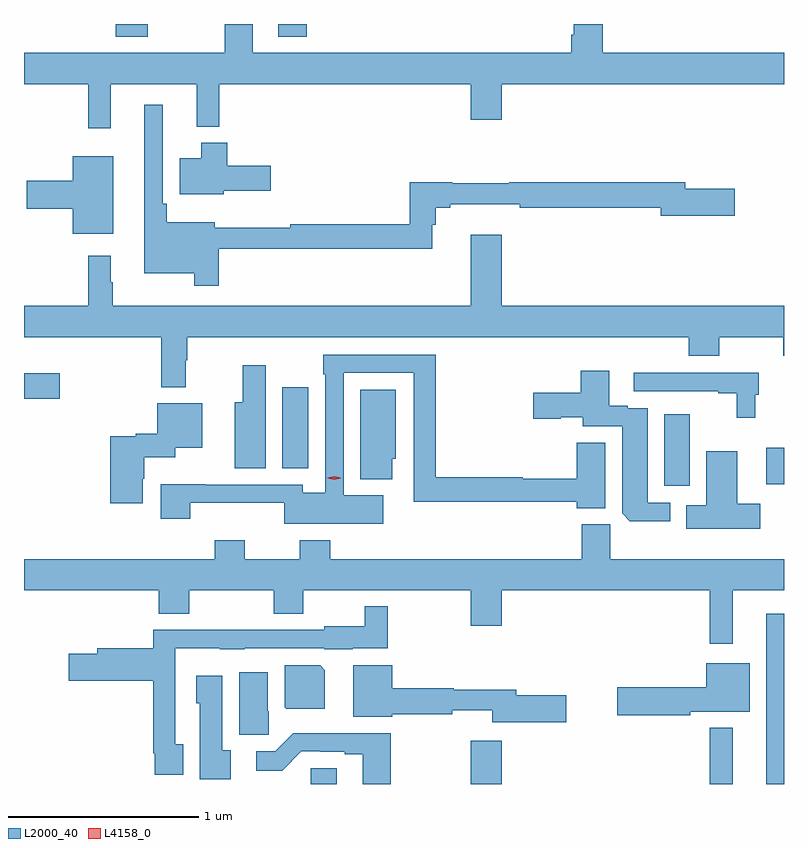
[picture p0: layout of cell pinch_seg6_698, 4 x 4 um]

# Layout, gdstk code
import gdstk
lib = gdstk.Library(unit=1e-6, precision=1e-09)
def R(c, l, rs):  # rectangles x0, y0, x1, y1
    for r in rs: c.add(gdstk.rectangle(r[:2], r[2:], *l))
def P(c, l, *ps):  # polygons
    for p in ps: c.add(gdstk.Polygon(p, *l))
L2000_40 = (2000, 40)
L4158_0 = (4158, 0)

pinch_seg6_698 = lib.new_cell('pinch_seg6_698')
R(pinch_seg6_698, L2000_40, [(379.95,940.988,380.089,941.072), (380.792,940.988,380.956,941.215), (382.05,940.988,382.171,941.284), (382.349,940.988,382.442,941.884), (381.812,942.558,381.946,942.934), (382.349,942.566,382.442,942.757), (379.802,942.649,379.939,943.075), (378.442,943.016,378.631,943.15), (378.926,944.922,379.093,944.988), (379.781,944.922,379.929,944.988)])
P(pinch_seg6_698, L2000_40, [(378.899,944.672),(379.352,944.672),(379.352,944.447),(379.469,944.447),(379.469,944.672),(380.792,944.672),(380.792,944.484),(380.956,944.484),(380.956,944.672),(382.442,944.672),(382.442,944.836),(381.488,944.836),(381.488,944.988),(381.335,944.988),(381.335,944.932),(381.323,944.932),(381.323,944.836),(379.645,944.836),(379.645,944.988),(379.498,944.988),(379.498,944.836),(378.442,944.836),(378.442,944.672),(378.781,944.672),(378.781,944.439),(378.899,944.439)],
  [(379.466,943.806),(380.591,943.806),(380.591,943.932),(380.609,943.932),(380.609,944.02),(380.686,944.02),(380.686,944.039),(381.052,944.039),(381.052,944.02),(381.794,944.02),(381.794,943.978),(382.183,943.978),(382.183,944.12),(381.922,944.12),(381.922,944.156),(380.996,944.156),(380.996,944.149),(380.696,944.149),(380.696,944.156),(380.473,944.156),(380.473,943.934),(379.843,943.934),(379.843,943.916),(379.447,943.916),(379.447,943.945),(379.193,943.945),(379.193,944.041),(379.173,944.041),(379.173,944.563),(379.076,944.563),(379.076,943.676),(379.338,943.676),(379.338,943.611),(379.466,943.611)],
  [(379.494,944.111),(379.741,944.111),(379.741,944.241),(379.511,944.241),(379.511,944.362),(379.376,944.362),(379.376,944.281),(379.262,944.281),(379.262,944.093),(379.494,944.093)],
  [(378.913,944.293),(378.698,944.293),(378.698,944.162),(378.456,944.162),(378.456,944.015),(378.698,944.015),(378.698,943.883),(378.913,943.883)],
  [(379.294,943.217),(379.301,943.217),(379.301,943.34),(381.941,943.34),(381.941,943.241),(382.101,943.241),(382.101,943.34),(382.438,943.34),(382.438,943.241),(382.442,943.241),(382.442,943.504),(380.956,943.504),(380.956,943.879),(380.792,943.879),(380.792,943.504),(378.91,943.504),(378.91,943.628),(378.898,943.628),(378.898,943.768),(378.781,943.768),(378.781,943.504),(378.442,943.504),(378.442,943.34),(379.165,943.34),(379.165,943.077),(379.294,943.077)],
  [(380.332,942.508),(380.124,942.508),(380.124,943.152),(380.493,943.152),(380.493,942.474),(381.35,942.474),(381.35,942.439),(381.502,942.439),(381.502,942.785),(381.35,942.785),(381.35,942.595),(381.066,942.595),(381.066,942.602),(380.609,942.602),(380.609,943.248),(380.016,943.248),(380.016,943.145),(380.028,943.145),(380.028,942.52),(379.908,942.52),(379.908,942.564),(379.399,942.564),(379.399,942.566),(379.163,942.566),(379.163,942.384),(379.316,942.384),(379.316,942.467),(379.812,942.467),(379.812,942.359),(380.332,942.359)],
  [(379.714,943.192),(379.592,943.192),(379.592,942.997),(379.55,942.997),(379.55,942.649),(379.714,942.649)],
  [(381.843,942.468),(381.724,942.468),(381.724,942.966),(381.62,942.966),(381.62,942.979),(381.523,942.979),(381.523,943.162),(381.371,943.162),(381.371,943.047),(381.123,943.047),(381.123,942.91),(381.266,942.91),(381.266,942.917),(381.383,942.917),(381.383,942.87),(381.59,942.87),(381.59,942.412),(381.631,942.371),(381.843,942.371)],
  [(382.291,943.038),(382.31,943.038),(382.31,943.152),(381.651,943.152),(381.651,943.056),(382.097,943.056),(382.097,943.044),(382.192,943.044),(382.192,942.915),(382.291,942.915)],
  [(380.38,942.699),(380.398,942.699),(380.398,943.063),(380.213,943.063),(380.213,942.593),(380.38,942.593)],
  [(379.066,942.594),(379.074,942.594),(379.074,942.707),(379.239,942.707),(379.239,942.758),(379.381,942.758),(379.381,942.991),(379.143,942.991),(379.143,942.831),(379.029,942.831),(379.029,942.817),(378.896,942.817),(378.896,942.465),(379.066,942.465)],
  [(382.318,942.462),(382.195,942.462),(382.195,942.739),(382.034,942.739),(382.034,942.454),(381.928,942.454),(381.928,942.332),(382.318,942.332)],
  [(382.171,942.008),(382.442,942.008),(382.442,942.172),(381.527,942.172),(381.527,942.354),(381.377,942.354),(381.377,942.172),(380.054,942.172),(380.054,942.271),(379.894,942.271),(379.894,942.172),(379.605,942.172),(379.605,942.271),(379.445,942.271),(379.445,942.172),(378.442,942.172),(378.442,942.008),(379.151,942.008),(379.151,941.884),(379.311,941.884),(379.311,942.008),(379.756,942.008),(379.756,941.884),(379.911,941.884),(379.911,942.008),(380.792,942.008),(380.792,941.82),(380.956,941.82),(380.956,942.008),(382.05,942.008),(382.05,941.727),(382.171,941.727)],
  [(379.279,941.198),(379.239,941.198),(379.239,941.702),(379.473,941.702),(379.473,941.696),(379.605,941.696),(379.605,941.703),(380.022,941.703),(380.022,941.696),(380.172,941.696),(380.172,941.702),(380.356,941.702),(380.356,941.923),(380.235,941.923),(380.235,941.818),(380.022,941.818),(380.022,941.799),(379.605,941.799),(379.605,941.801),(379.373,941.801),(379.373,941.799),(379.123,941.799),(379.123,941.703),(378.827,941.703),(378.827,941.673),(378.678,941.673),(378.678,941.531),(379.123,941.531),(379.123,941.149),(379.131,941.149),(379.131,941.037),(379.279,941.037)],
  [(381.948,941.369),(382.261,941.369),(382.261,941.623),(382.034,941.623),(382.034,941.498),(381.564,941.498),(381.564,941.351),(381.948,941.351)],
  [(380.026,941.588),(380,941.614),(379.814,941.614),(379.814,941.392),(379.822,941.384),(380.026,941.384)],
  [(381.295,941.456),(381.034,941.456),(381.034,941.485),(380.703,941.485),(380.703,941.492),(380.38,941.492),(380.38,941.614),(380.174,941.614),(380.174,941.342),(380.38,941.342),(380.38,941.356),(380.696,941.356),(380.696,941.375),(380.906,941.375),(380.906,941.314),(381.295,941.314)],
  [(379.73,941.37),(379.726,941.37),(379.726,941.575),(379.574,941.575),(379.574,941.247),(379.73,941.247)],
  [(379.531,941.166),(379.486,941.166),(379.486,941.557),(379.349,941.557),(379.349,941.412),(379.367,941.412),(379.367,941.012),(379.531,941.012)],
  [(380.373,941.255),(379.859,941.255),(379.764,941.16),(379.665,941.16),(379.665,941.058),(379.8,941.058),(379.902,941.16),(380.002,941.16),(380.002,941.157),(380.129,941.157),(380.129,941.145),(380.225,941.145),(380.225,940.988),(380.373,940.988)])
P(pinch_seg6_698, L4158_0, [(380.076,942.589),(380.041,942.598),(380.041,942.599),(380.041,942.599),(380.076,942.609),(380.11,942.599),(380.11,942.599),(380.11,942.598)])

lib.write_gds('pinch_seg6_698.gds')
